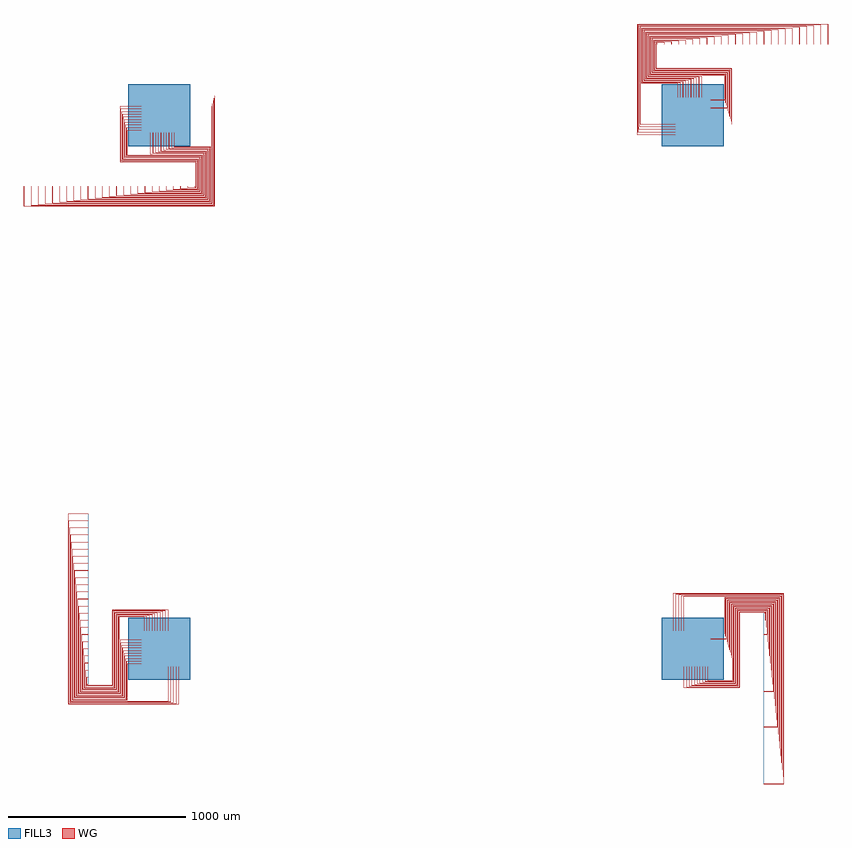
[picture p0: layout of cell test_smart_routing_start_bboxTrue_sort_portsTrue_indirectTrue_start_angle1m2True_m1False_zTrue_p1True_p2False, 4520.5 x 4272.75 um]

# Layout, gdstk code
import gdstk
lib = gdstk.Library(unit=1e-6, precision=1e-09)
def R(c, l, rs):  # rectangles x0, y0, x1, y1
    for r in rs: c.add(gdstk.rectangle(r[:2], r[2:], *l))
def P(c, l, *ps):  # polygons
    for p in ps: c.add(gdstk.Polygon(p, *l))
WG = (1, 0)
FILL3 = (10, 0)

test_smart_routing_start = lib.new_cell('test_smart_routing_start_bboxTrue_sort_portsTrue_indirectTrue_start_angle1m2True_m1False_zTrue_p1True_p2False')
P(test_smart_routing_start, WG, [(3400,-720.25),(3400,-720.05),(3507.8,-720.05),(3507.8,308.05),(2904.95,308.05),(2904.95,100),(2904.75,100),(2904.75,308.25),(3508,308.25),(3508,-720.25)],
  [(3400,-680.25),(3400,-680.05),(3503.3,-680.05),(3503.3,303.55),(2919.95,303.55),(2919.95,100),(2919.75,100),(2919.75,303.75),(3503.5,303.75),(3503.5,-680.25)],
  [(3400,-640.25),(3400,-640.05),(3498.8,-640.05),(3498.8,299.05),(2934.95,299.05),(2934.95,100),(2934.75,100),(2934.75,299.25),(3499,299.25),(3499,-640.25)],
  [(3400,-639.95),(3400,-639.75),(3498.5,-639.75),(3498.5,298.75),(2935.25,298.75),(2935.25,100),(2935.05,100),(2935.05,298.95),(3498.7,298.95),(3498.7,-639.95)],
  [(3400,-559.95),(3400,-559.75),(3489.5,-559.75),(3489.5,289.75),(3179.5,289.75),(3179.5,84.75),(3100,84.75),(3100,84.95),(3179.3,84.95),(3179.3,289.95),(3489.7,289.95),(3489.7,-559.95)],
  [(3400,-519.95),(3400,-519.75),(3485,-519.75),(3485,285.25),(3184,285.25),(3184,69.75),(3100,69.75),(3100,69.95),(3183.8,69.95),(3183.8,285.45),(3485.2,285.45),(3485.2,-519.95)],
  [(3400,-480.25),(3400,-480.05),(3480.8,-480.05),(3480.8,281.05),(3188.2,281.05),(3188.2,55.05),(3100,55.05),(3100,55.25),(3188,55.25),(3188,281.25),(3481,281.25),(3481,-480.25)],
  [(3400,-439.95),(3400,-439.75),(3476,-439.75),(3476,276.25),(3193,276.25),(3193,39.75),(3100,39.75),(3100,39.95),(3192.8,39.95),(3192.8,276.45),(3476.2,276.45),(3476.2,-439.95)],
  [(3400,-360.25),(3400,-360.05),(3467.3,-360.05),(3467.3,267.55),(3201.7,267.55),(3201.7,10.05),(3100,10.05),(3100,10.25),(3201.5,10.25),(3201.5,267.75),(3467.5,267.75),(3467.5,-360.25)],
  [(3400,-359.95),(3400,-359.75),(3467,-359.75),(3467,267.25),(3202,267.25),(3202,9.75),(3100,9.75),(3100,9.95),(3201.8,9.95),(3201.8,267.45),(3467.2,267.45),(3467.2,-359.95)],
  [(3400,-319.95),(3400,-319.75),(3462.5,-319.75),(3462.5,262.75),(3206.5,262.75),(3206.5,-5.25),(3100,-5.25),(3100,-5.05),(3206.3,-5.05),(3206.3,262.95),(3462.7,262.95),(3462.7,-319.95)],
  [(3400,-280.25),(3400,-280.05),(3458.3,-280.05),(3458.3,258.55),(3210.7,258.55),(3210.7,-19.95),(3100,-19.95),(3100,-19.75),(3210.5,-19.75),(3210.5,258.75),(3458.5,258.75),(3458.5,-280.25)],
  [(3400,-760.25),(3400,-760.05),(3512.3,-760.05),(3512.3,312.55),(2889.95,312.55),(2889.95,100),(2889.75,100),(2889.75,312.75),(3512.5,312.75),(3512.5,-760.25)],
  [(3400,-279.95),(3400,-279.75),(3458,-279.75),(3458,258.25),(3211,258.25),(3211,-20.25),(3100,-20.25),(3100,-20.05),(3210.8,-20.05),(3210.8,258.45),(3458.2,258.45),(3458.2,-279.95)],
  [(3400,-240.25),(3400,-240.05),(3453.8,-240.05),(3453.8,254.05),(3215.2,254.05),(3215.2,-34.95),(3100,-34.95),(3100,-34.75),(3215,-34.75),(3215,254.25),(3454,254.25),(3454,-240.25)],
  [(3400,-239.95),(3400,-239.75),(3453.5,-239.75),(3453.5,253.75),(3215.5,253.75),(3215.5,-35.25),(3100,-35.25),(3100,-35.05),(3215.3,-35.05),(3215.3,253.95),(3453.7,253.95),(3453.7,-239.95)],
  [(3400,-199.95),(3400,-199.75),(3449,-199.75),(3449,249.25),(3220,249.25),(3220,-50.25),(3100,-50.25),(3100,-50.05),(3219.8,-50.05),(3219.8,249.45),(3449.2,249.45),(3449.2,-199.95)],
  [(3085.05,-179.2),(3085.05,-100),(3085.25,-100),(3085.25,-179),(3224,-179),(3224,245.25),(3445,245.25),(3445,-160.25),(3400,-160.25),(3400,-160.05),(3444.8,-160.05),(3444.8,245.05),(3224.2,245.05),(3224.2,-179.2)],
  [(3400,-759.95),(3400,-759.75),(3512,-759.75),(3512,312.25),(2890.25,312.25),(2890.25,100),(2890.05,100),(2890.05,312.45),(3512.2,312.45),(3512.2,-759.95)],
  [(3069.75,-184),(3069.75,-100),(3069.95,-100),(3069.95,-183.8),(3228.8,-183.8),(3228.8,240.45),(3440.2,240.45),(3440.2,-119.95),(3400,-119.95),(3400,-119.75),(3440,-119.75),(3440,240.25),(3229,240.25),(3229,-184)],
  [(3055.05,-188.2),(3055.05,-100),(3055.25,-100),(3055.25,-188),(3233,-188),(3233,236.25),(3436,236.25),(3436,-80.25),(3400,-80.25),(3400,-80.05),(3435.8,-80.05),(3435.8,236.05),(3233.2,236.05),(3233.2,-188.2)],
  [(3054.75,-188.5),(3054.75,-100),(3054.95,-100),(3054.95,-188.3),(3233.3,-188.3),(3233.3,235.95),(3435.7,235.95),(3435.7,-79.95),(3400,-79.95),(3400,-79.75),(3435.5,-79.75),(3435.5,235.75),(3233.5,235.75),(3233.5,-188.5)],
  [(3040.05,-192.7),(3040.05,-100),(3040.25,-100),(3040.25,-192.5),(3237.5,-192.5),(3237.5,231.75),(3431.5,231.75),(3431.5,-40.25),(3400,-40.25),(3400,-40.05),(3431.3,-40.05),(3431.3,231.55),(3237.7,231.55),(3237.7,-192.7)],
  [(3039.75,-193),(3039.75,-100),(3039.95,-100),(3039.95,-192.8),(3237.8,-192.8),(3237.8,231.45),(3431.2,231.45),(3431.2,-39.95),(3400,-39.95),(3400,-39.75),(3431,-39.75),(3431,231.25),(3238,231.25),(3238,-193)],
  [(3009.75,-202),(3009.75,-100),(3009.95,-100),(3009.95,-201.8),(3246.8,-201.8),(3246.8,222.45),(3422.2,222.45),(3422.2,40.05),(3400,40.05),(3400,40.25),(3422,40.25),(3422,222.25),(3247,222.25),(3247,-202)],
  [(2994.75,-206.5),(2994.75,-100),(2994.95,-100),(2994.95,-206.3),(3251.3,-206.3),(3251.3,217.95),(3417.7,217.95),(3417.7,80.05),(3400,80.05),(3400,80.25),(3417.5,80.25),(3417.5,217.75),(3251.5,217.75),(3251.5,-206.5)],
  [(2980.05,-210.7),(2980.05,-100),(2980.25,-100),(2980.25,-210.5),(3255.5,-210.5),(3255.5,213.75),(3413.5,213.75),(3413.5,119.75),(3400,119.75),(3400,119.95),(3413.3,119.95),(3413.3,213.55),(3255.7,213.55),(3255.7,-210.7)],
  [(2965.05,-215.2),(2965.05,-100),(2965.25,-100),(2965.25,-215),(3260,-215),(3260,209.25),(3409,209.25),(3409,159.75),(3400,159.75),(3400,159.95),(3408.8,159.95),(3408.8,209.05),(3260.2,209.05),(3260.2,-215.2)],
  [(2964.75,-215.5),(2964.75,-100),(2964.95,-100),(2964.95,-215.3),(3260.3,-215.3),(3260.3,208.95),(3408.7,208.95),(3408.7,160.05),(3400,160.05),(3400,160.25),(3408.5,160.25),(3408.5,208.75),(3260.5,208.75),(3260.5,-215.5)],
  [(2949.75,-220),(2949.75,-100),(2949.95,-100),(2949.95,-219.8),(3264.8,-219.8),(3264.8,204.45),(3404.2,204.45),(3404.2,200.05),(3400,200.05),(3400,200.25),(3404,200.25),(3404,204.25),(3265,204.25),(3265,-220)],
  [(-503.5,-303.75),(-503.5,680.25),(-400,680.25),(-400,680.05),(-503.3,680.05),(-503.3,-303.55),(80.05,-303.55),(80.05,-100),(80.25,-100),(80.25,-303.75)],
  [(-499,-299.25),(-499,640.25),(-400,640.25),(-400,640.05),(-498.8,640.05),(-498.8,-299.05),(65.05,-299.05),(65.05,-100),(65.25,-100),(65.25,-299.25)],
  [(-507.7,-307.95),(-507.7,719.95),(-400,719.95),(-400,719.75),(-507.5,719.75),(-507.5,-307.75),(94.75,-307.75),(94.75,-100),(94.95,-100),(94.95,-307.95)],
  [(-494.2,-294.45),(-494.2,599.95),(-400,599.95),(-400,599.75),(-494,599.75),(-494,-294.25),(49.75,-294.25),(49.75,-100),(49.95,-100),(49.95,-294.45)],
  [(-490,-290.25),(-490,560.25),(-400,560.25),(-400,560.05),(-489.8,560.05),(-489.8,-290.05),(-179.2,-290.05),(-179.2,-85.05),(-100,-85.05),(-100,-85.25),(-179,-85.25),(-179,-290.25)],
  [(-489.7,-289.95),(-489.7,559.95),(-400,559.95),(-400,559.75),(-489.5,559.75),(-489.5,-289.75),(-179.5,-289.75),(-179.5,-84.75),(-100,-84.75),(-100,-84.95),(-179.3,-84.95),(-179.3,-289.95)],
  [(-485.5,-285.75),(-485.5,520.25),(-400,520.25),(-400,520.05),(-485.3,520.05),(-485.3,-285.55),(-183.7,-285.55),(-183.7,-70.05),(-100,-70.05),(-100,-70.25),(-183.5,-70.25),(-183.5,-285.75)],
  [(-503.2,-303.45),(-503.2,679.95),(-400,679.95),(-400,679.75),(-503,679.75),(-503,-303.25),(79.75,-303.25),(79.75,-100),(79.95,-100),(79.95,-303.45)],
  [(-481,-281.25),(-481,480.25),(-400,480.25),(-400,480.05),(-480.8,480.05),(-480.8,-281.05),(-188.2,-281.05),(-188.2,-55.05),(-100,-55.05),(-100,-55.25),(-188,-55.25),(-188,-281.25)],
  [(-476.5,-276.75),(-476.5,440.25),(-400,440.25),(-400,440.05),(-476.3,440.05),(-476.3,-276.55),(-192.7,-276.55),(-192.7,-40.05),(-100,-40.05),(-100,-40.25),(-192.5,-40.25),(-192.5,-276.75)],
  [(-476.2,-276.45),(-476.2,439.95),(-400,439.95),(-400,439.75),(-476,439.75),(-476,-276.25),(-193,-276.25),(-193,-39.75),(-100,-39.75),(-100,-39.95),(-192.8,-39.95),(-192.8,-276.45)],
  [(-472,-272.25),(-472,400.25),(-400,400.25),(-400,400.05),(-471.8,400.05),(-471.8,-272.05),(-197.2,-272.05),(-197.2,-25.05),(-100,-25.05),(-100,-25.25),(-197,-25.25),(-197,-272.25)],
  [(-467.5,-267.75),(-467.5,360.25),(-400,360.25),(-400,360.05),(-467.3,360.05),(-467.3,-267.55),(-201.7,-267.55),(-201.7,-10.05),(-100,-10.05),(-100,-10.25),(-201.5,-10.25),(-201.5,-267.75)],
  [(-467.2,-267.45),(-467.2,359.95),(-400,359.95),(-400,359.75),(-467,359.75),(-467,-267.25),(-202,-267.25),(-202,-9.75),(-100,-9.75),(-100,-9.95),(-201.8,-9.95),(-201.8,-267.45)],
  [(-463,-263.25),(-463,320.25),(-400,320.25),(-400,320.05),(-462.8,320.05),(-462.8,-263.05),(-206.2,-263.05),(-206.2,4.95),(-100,4.95),(-100,4.75),(-206,4.75),(-206,-263.25)],
  [(-480.25,2519),(-480.25,2600),(-480.05,2600),(-480.05,2519.2),(281.05,2519.2),(281.05,2811.8),(55.05,2811.8),(55.05,2900),(55.25,2900),(55.25,2812),(281.25,2812),(281.25,2519)],
  [(39.75,2577.5),(39.75,2600),(39.95,2600),(39.95,2577.7),(222.55,2577.7),(222.55,2753.3),(-201.7,2753.3),(-201.7,2989.95),(-100,2989.95),(-100,2989.75),(-201.5,2989.75),(-201.5,2753.5),(222.75,2753.5),(222.75,2577.5)],
  [(2700.75,2934.75),(2700.75,3499),(3640.25,3499),(3640.25,3400),(3640.05,3400),(3640.05,3498.8),(2700.95,3498.8),(2700.95,2934.95),(2900,2934.95),(2900,2934.75)],
  [(2944.75,3100),(2944.75,3188),(2718.75,3188),(2718.75,3481),(3480.25,3481),(3480.25,3400),(3480.05,3400),(3480.05,3480.8),(2718.95,3480.8),(2718.95,3188.2),(2944.95,3188.2),(2944.95,3100)],
  [(-80.25,2564),(-80.25,2600),(-80.05,2600),(-80.05,2564.2),(236.05,2564.2),(236.05,2766.8),(-188.2,2766.8),(-188.2,2944.95),(-100,2944.95),(-100,2944.75),(-188,2944.75),(-188,2767),(236.25,2767),(236.25,2564)],
  [(3400,-599.95),(3400,-599.75),(3494,-599.75),(3494,294.25),(2950.25,294.25),(2950.25,100),(2950.05,100),(2950.05,294.45),(3494.2,294.45),(3494.2,-599.95)],
  [(-239.95,2546.3),(-239.95,2600),(-239.75,2600),(-239.75,2546.5),(253.75,2546.5),(253.75,2784.5),(-35.25,2784.5),(-35.25,2900),(-35.05,2900),(-35.05,2784.7),(253.95,2784.7),(253.95,2546.3)],
  [(3084.75,-179.5),(3084.75,-100),(3084.95,-100),(3084.95,-179.3),(3224.3,-179.3),(3224.3,244.95),(3444.7,244.95),(3444.7,-159.95),(3400,-159.95),(3400,-159.75),(3444.5,-159.75),(3444.5,244.75),(3224.5,244.75),(3224.5,-179.5)],
  [(-400.25,2528),(-400.25,2600),(-400.05,2600),(-400.05,2528.2),(272.05,2528.2),(272.05,2802.8),(25.05,2802.8),(25.05,2900),(25.25,2900),(25.25,2803),(272.25,2803),(272.25,2528)],
  [(2705.25,2949.75),(2705.25,3494.5),(3600.25,3494.5),(3600.25,3400),(3600.05,3400),(3600.05,3494.3),(2705.45,3494.3),(2705.45,2949.95),(2900,2949.95),(2900,2949.75)],
  [(-600.25,2505.5),(-600.25,2600),(-600.05,2600),(-600.05,2505.7),(294.55,2505.7),(294.55,3050.05),(100,3050.05),(100,3050.25),(294.75,3050.25),(294.75,2505.5)],
  [(-440.2,-240.45),(-440.2,119.95),(-400,119.95),(-400,119.75),(-440,119.75),(-440,-240.25),(-229,-240.25),(-229,184),(-69.75,184),(-69.75,100),(-69.95,100),(-69.95,183.8),(-228.8,183.8),(-228.8,-240.45)],
  [(-471.7,-271.95),(-471.7,399.95),(-400,399.95),(-400,399.75),(-471.5,399.75),(-471.5,-271.75),(-197.5,-271.75),(-197.5,-24.75),(-100,-24.75),(-100,-24.95),(-197.3,-24.95),(-197.3,-271.95)],
  [(2687.55,2890.05),(2687.55,3512.2),(3759.95,3512.2),(3759.95,3400),(3759.75,3400),(3759.75,3512),(2687.75,3512),(2687.75,2890.25),(2900,2890.25),(2900,2890.05)],
  [(3020.05,3100),(3020.05,3210.8),(2741.55,3210.8),(2741.55,3458.2),(3279.95,3458.2),(3279.95,3400),(3279.75,3400),(3279.75,3458),(2741.75,3458),(2741.75,3211),(3020.25,3211),(3020.25,3100)],
  [(120.05,2586.8),(120.05,2600),(120.25,2600),(120.25,2587),(213.25,2587),(213.25,2744),(-211,2744),(-211,3020.25),(-100,3020.25),(-100,3020.05),(-210.8,3020.05),(-210.8,2744.2),(213.45,2744.2),(213.45,2586.8)],
  [(-408.7,-208.95),(-408.7,-160.05),(-400,-160.05),(-400,-160.25),(-408.5,-160.25),(-408.5,-208.75),(-260.5,-208.75),(-260.5,215.5),(35.25,215.5),(35.25,100),(35.05,100),(35.05,215.3),(-260.3,215.3),(-260.3,-208.95)],
  [(2701.05,2935.05),(2701.05,3498.7),(3639.95,3498.7),(3639.95,3400),(3639.75,3400),(3639.75,3498.5),(2701.25,3498.5),(2701.25,2935.25),(2900,2935.25),(2900,2935.05)],
  [(-319.95,2537.3),(-319.95,2600),(-319.75,2600),(-319.75,2537.5),(262.75,2537.5),(262.75,2793.5),(-5.25,2793.5),(-5.25,2900),(-5.05,2900),(-5.05,2793.7),(262.95,2793.7),(262.95,2537.3)],
  [(2960.05,3100),(2960.05,3192.8),(2723.55,3192.8),(2723.55,3476.2),(3439.95,3476.2),(3439.95,3400),(3439.75,3400),(3439.75,3476),(2723.75,3476),(2723.75,3193),(2960.25,3193),(2960.25,3100)],
  [(2974.75,3100),(2974.75,3197),(2727.75,3197),(2727.75,3472),(3400.25,3472),(3400.25,3400),(3400.05,3400),(3400.05,3471.8),(2727.95,3471.8),(2727.95,3197.2),(2974.95,3197.2),(2974.95,3100)],
  [(-200.25,2550.5),(-200.25,2600),(-200.05,2600),(-200.05,2550.7),(249.55,2550.7),(249.55,2780.3),(-49.95,2780.3),(-49.95,2900),(-49.75,2900),(-49.75,2780.5),(249.75,2780.5),(249.75,2550.5)],
  [(2975.05,3100),(2975.05,3197.3),(2728.05,3197.3),(2728.05,3471.7),(3399.95,3471.7),(3399.95,3400),(3399.75,3400),(3399.75,3471.5),(2728.25,3471.5),(2728.25,3197.5),(2975.25,3197.5),(2975.25,3100)],
  [(2696.25,2919.75),(2696.25,3503.5),(3680.25,3503.5),(3680.25,3400),(3680.05,3400),(3680.05,3503.3),(2696.45,3503.3),(2696.45,2919.95),(2900,2919.95),(2900,2919.75)],
  [(3004.75,3100),(3004.75,3206),(2736.75,3206),(2736.75,3463),(3320.25,3463),(3320.25,3400),(3320.05,3400),(3320.05,3462.8),(2736.95,3462.8),(2736.95,3206.2),(3004.95,3206.2),(3004.95,3100)],
  [(2989.75,3100),(2989.75,3201.5),(2732.25,3201.5),(2732.25,3467.5),(3360.25,3467.5),(3360.25,3400),(3360.05,3400),(3360.05,3467.3),(2732.45,3467.3),(2732.45,3201.7),(2989.95,3201.7),(2989.95,3100)],
  [(2691.75,2904.75),(2691.75,3508),(3720.25,3508),(3720.25,3400),(3720.05,3400),(3720.05,3507.8),(2691.95,3507.8),(2691.95,2904.95),(2900,2904.95),(2900,2904.75)],
  [(2687.25,2889.75),(2687.25,3512.5),(3760.25,3512.5),(3760.25,3400),(3760.05,3400),(3760.05,3512.3),(2687.45,3512.3),(2687.45,2889.95),(2900,2889.95),(2900,2889.75)],
  [(-240.25,2546),(-240.25,2600),(-240.05,2600),(-240.05,2546.2),(254.05,2546.2),(254.05,2784.8),(-34.95,2784.8),(-34.95,2900),(-34.75,2900),(-34.75,2785),(254.25,2785),(254.25,2546)],
  [(3400,-440.25),(3400,-440.05),(3476.3,-440.05),(3476.3,276.55),(3192.7,276.55),(3192.7,40.05),(3100,40.05),(3100,40.25),(3192.5,40.25),(3192.5,276.75),(3476.5,276.75),(3476.5,-440.25)],
  [(3100,3039.75),(3100,3039.95),(3192.8,3039.95),(3192.8,3237.8),(2768.55,3237.8),(2768.55,3431.2),(3039.95,3431.2),(3039.95,3400),(3039.75,3400),(3039.75,3431),(2768.75,3431),(2768.75,3238),(3193,3238),(3193,3039.75)],
  [(3024.75,-197.5),(3024.75,-100),(3024.95,-100),(3024.95,-197.3),(3242.3,-197.3),(3242.3,226.95),(3426.7,226.95),(3426.7,0.05),(3400,0.05),(3400,0.25),(3426.5,0.25),(3426.5,226.75),(3242.5,226.75),(3242.5,-197.5)],
  [(-427,-227.25),(-427,0.25),(-400,0.25),(-400,0.05),(-426.8,0.05),(-426.8,-227.05),(-242.2,-227.05),(-242.2,197.2),(-25.05,197.2),(-25.05,100),(-25.25,100),(-25.25,197),(-242,197),(-242,-227.25)],
  [(3100,3025.05),(3100,3025.25),(3197,3025.25),(3197,3242),(2772.75,3242),(2772.75,3427),(3000.25,3427),(3000.25,3400),(3000.05,3400),(3000.05,3426.8),(2772.95,3426.8),(2772.95,3242.2),(3197.2,3242.2),(3197.2,3025.05)],
  [(3050.05,3100),(3050.05,3219.8),(2750.55,3219.8),(2750.55,3449.2),(3199.95,3449.2),(3199.95,3400),(3199.75,3400),(3199.75,3449),(2750.75,3449),(2750.75,3220),(3050.25,3220),(3050.25,3100)],
  [(3100,3055.05),(3100,3055.25),(3188,3055.25),(3188,3233),(2763.75,3233),(2763.75,3436),(3080.25,3436),(3080.25,3400),(3080.05,3400),(3080.05,3435.8),(2763.95,3435.8),(2763.95,3233.2),(3188.2,3233.2),(3188.2,3055.05)],
  [(3400,-679.95),(3400,-679.75),(3503,-679.75),(3503,303.25),(2920.25,303.25),(2920.25,100),(2920.05,100),(2920.05,303.45),(3503.2,303.45),(3503.2,-679.95)],
  [(-359.95,2532.8),(-359.95,2600),(-359.75,2600),(-359.75,2533),(267.25,2533),(267.25,2798),(9.75,2798),(9.75,2900),(9.95,2900),(9.95,2798.2),(267.45,2798.2),(267.45,2532.8)],
  [(-519.95,2514.8),(-519.95,2600),(-519.75,2600),(-519.75,2515),(285.25,2515),(285.25,2816),(69.75,2816),(69.75,2900),(69.95,2900),(69.95,2816.2),(285.45,2816.2),(285.45,2514.8)],
  [(119.75,2586.5),(119.75,2600),(119.95,2600),(119.95,2586.7),(213.55,2586.7),(213.55,2744.3),(-210.7,2744.3),(-210.7,3019.95),(-100,3019.95),(-100,3019.75),(-210.5,3019.75),(-210.5,2744.5),(213.75,2744.5),(213.75,2586.5)],
  [(3019.75,3100),(3019.75,3210.5),(2741.25,3210.5),(2741.25,3458.5),(3280.25,3458.5),(3280.25,3400),(3280.05,3400),(3280.05,3458.3),(2741.45,3458.3),(2741.45,3210.7),(3019.95,3210.7),(3019.95,3100)],
  [(3100,3069.75),(3100,3069.95),(3183.8,3069.95),(3183.8,3228.8),(2759.55,3228.8),(2759.55,3440.2),(3119.95,3440.2),(3119.95,3400),(3119.75,3400),(3119.75,3440),(2759.75,3440),(2759.75,3229),(3184,3229),(3184,3069.75)],
  [(-512.5,-312.75),(-512.5,760.25),(-400,760.25),(-400,760.05),(-512.3,760.05),(-512.3,-312.55),(110.05,-312.55),(110.05,-100),(110.25,-100),(110.25,-312.75)],
  [(-640.25,2501),(-640.25,2600),(-640.05,2600),(-640.05,2501.2),(299.05,2501.2),(299.05,3065.05),(100,3065.05),(100,3065.25),(299.25,3065.25),(299.25,2501)],
  [(3100,3084.75),(3100,3084.95),(3179.3,3084.95),(3179.3,3224.3),(2755.05,3224.3),(2755.05,3444.7),(3159.95,3444.7),(3159.95,3400),(3159.75,3400),(3159.75,3444.5),(2755.25,3444.5),(2755.25,3224.5),(3179.5,3224.5),(3179.5,3084.75)],
  [(-413.2,-213.45),(-413.2,-120.05),(-400,-120.05),(-400,-120.25),(-413,-120.25),(-413,-213.25),(-256,-213.25),(-256,211),(20.25,211),(20.25,100),(20.05,100),(20.05,210.8),(-255.8,210.8),(-255.8,-213.45)],
  [(80.05,2582.3),(80.05,2600),(80.25,2600),(80.25,2582.5),(217.75,2582.5),(217.75,2748.5),(-206.5,2748.5),(-206.5,3005.25),(-100,3005.25),(-100,3005.05),(-206.3,3005.05),(-206.3,2748.7),(217.95,2748.7),(217.95,2582.3)],
  [(3070.05,-183.7),(3070.05,-100),(3070.25,-100),(3070.25,-183.5),(3228.5,-183.5),(3228.5,240.75),(3440.5,240.75),(3440.5,-120.25),(3400,-120.25),(3400,-120.05),(3440.3,-120.05),(3440.3,240.55),(3228.7,240.55),(3228.7,-183.7)],
  [(79.75,2582),(79.75,2600),(79.95,2600),(79.95,2582.2),(218.05,2582.2),(218.05,2748.8),(-206.2,2748.8),(-206.2,3004.95),(-100,3004.95),(-100,3004.75),(-206,3004.75),(-206,2749),(218.25,2749),(218.25,2582)],
  [(2929.75,3100),(2929.75,3183.5),(2714.25,3183.5),(2714.25,3485.5),(3520.25,3485.5),(3520.25,3400),(3520.05,3400),(3520.05,3485.3),(2714.45,3485.3),(2714.45,3183.7),(2929.95,3183.7),(2929.95,3100)],
  [(-199.95,2550.8),(-199.95,2600),(-199.75,2600),(-199.75,2551),(249.25,2551),(249.25,2780),(-50.25,2780),(-50.25,2900),(-50.05,2900),(-50.05,2780.2),(249.45,2780.2),(249.45,2550.8)],
  [(-422.2,-222.45),(-422.2,-40.05),(-400,-40.05),(-400,-40.25),(-422,-40.25),(-422,-222.25),(-247,-222.25),(-247,202),(-9.75,202),(-9.75,100),(-9.95,100),(-9.95,201.8),(-246.8,201.8),(-246.8,-222.45)],
  [(3100,2980.05),(3100,2980.25),(3210.5,2980.25),(3210.5,3255.5),(2786.25,3255.5),(2786.25,3413.5),(2880.25,3413.5),(2880.25,3400),(2880.05,3400),(2880.05,3413.3),(2786.45,3413.3),(2786.45,3255.7),(3210.7,3255.7),(3210.7,2980.05)],
  [(3005.05,3100),(3005.05,3206.3),(2737.05,3206.3),(2737.05,3462.7),(3319.95,3462.7),(3319.95,3400),(3319.75,3400),(3319.75,3462.5),(2737.25,3462.5),(2737.25,3206.5),(3005.25,3206.5),(3005.25,3100)],
  [(-512.2,-312.45),(-512.2,759.95),(-400,759.95),(-400,759.75),(-512,759.75),(-512,-312.25),(109.75,-312.25),(109.75,-100),(109.95,-100),(109.95,-312.45)],
  [(3100,3085.05),(3100,3085.25),(3179,3085.25),(3179,3224),(2754.75,3224),(2754.75,3445),(3160.25,3445),(3160.25,3400),(3160.05,3400),(3160.05,3444.8),(2754.95,3444.8),(2754.95,3224.2),(3179.2,3224.2),(3179.2,3085.05)],
  [(-440.5,-240.75),(-440.5,120.25),(-400,120.25),(-400,120.05),(-440.3,120.05),(-440.3,-240.55),(-228.7,-240.55),(-228.7,183.7),(-70.05,183.7),(-70.05,100),(-70.25,100),(-70.25,183.5),(-228.5,183.5),(-228.5,-240.75)],
  [(2696.55,2920.05),(2696.55,3503.2),(3679.95,3503.2),(3679.95,3400),(3679.75,3400),(3679.75,3503),(2696.75,3503),(2696.75,2920.25),(2900,2920.25),(2900,2920.05)],
  [(2950.05,-219.7),(2950.05,-100),(2950.25,-100),(2950.25,-219.5),(3264.5,-219.5),(3264.5,204.75),(3404.5,204.75),(3404.5,199.75),(3400,199.75),(3400,199.95),(3404.3,199.95),(3404.3,204.55),(3264.7,204.55),(3264.7,-219.7)],
  [(3100,2979.75),(3100,2979.95),(3210.8,2979.95),(3210.8,3255.8),(2786.55,3255.8),(2786.55,3413.2),(2879.95,3413.2),(2879.95,3400),(2879.75,3400),(2879.75,3413),(2786.75,3413),(2786.75,3256),(3211,3256),(3211,2979.75)],
  [(3400,-200.25),(3400,-200.05),(3449.3,-200.05),(3449.3,249.55),(3219.7,249.55),(3219.7,-49.95),(3100,-49.95),(3100,-49.75),(3219.5,-49.75),(3219.5,249.75),(3449.5,249.75),(3449.5,-200.25)],
  [(3049.75,3100),(3049.75,3219.5),(2750.25,3219.5),(2750.25,3449.5),(3200.25,3449.5),(3200.25,3400),(3200.05,3400),(3200.05,3449.3),(2750.45,3449.3),(2750.45,3219.7),(3049.95,3219.7),(3049.95,3100)],
  [(3100,2964.75),(3100,2964.95),(3215.3,2964.95),(3215.3,3260.3),(2791.05,3260.3),(2791.05,3408.7),(2839.95,3408.7),(2839.95,3400),(2839.75,3400),(2839.75,3408.5),(2791.25,3408.5),(2791.25,3260.5),(3215.5,3260.5),(3215.5,2964.75)],
  [(3100,3040.05),(3100,3040.25),(3192.5,3040.25),(3192.5,3237.5),(2768.25,3237.5),(2768.25,3431.5),(3040.25,3431.5),(3040.25,3400),(3040.05,3400),(3040.05,3431.3),(2768.45,3431.3),(2768.45,3237.7),(3192.7,3237.7),(3192.7,3040.05)],
  [(2915.05,3100),(2915.05,3179.3),(2710.05,3179.3),(2710.05,3489.7),(3559.95,3489.7),(3559.95,3400),(3559.75,3400),(3559.75,3489.5),(2710.25,3489.5),(2710.25,3179.5),(2915.25,3179.5),(2915.25,3100)],
  [(-435.7,-235.95),(-435.7,79.95),(-400,79.95),(-400,79.75),(-435.5,79.75),(-435.5,-235.75),(-233.5,-235.75),(-233.5,188.5),(-54.75,188.5),(-54.75,100),(-54.95,100),(-54.95,188.3),(-233.3,188.3),(-233.3,-235.95)],
  [(3025.05,-197.2),(3025.05,-100),(3025.25,-100),(3025.25,-197),(3242,-197),(3242,227.25),(3427,227.25),(3427,-0.25),(3400,-0.25),(3400,-0.05),(3426.8,-0.05),(3426.8,227.05),(3242.2,227.05),(3242.2,-197.2)],
  [(3100,2950.05),(3100,2950.25),(3219.5,2950.25),(3219.5,3264.5),(2795.25,3264.5),(2795.25,3404.5),(2800.25,3404.5),(2800.25,3400),(2800.05,3400),(2800.05,3404.3),(2795.45,3404.3),(2795.45,3264.7),(3219.7,3264.7),(3219.7,2950.05)],
  [(3100,2949.75),(3100,2949.95),(3219.8,2949.95),(3219.8,3264.8),(2795.55,3264.8),(2795.55,3404.2),(2799.95,3404.2),(2799.95,3400),(2799.75,3400),(2799.75,3404),(2795.75,3404),(2795.75,3265),(3220,3265),(3220,2949.75)],
  [(-409,-209.25),(-409,-159.75),(-400,-159.75),(-400,-159.95),(-408.8,-159.95),(-408.8,-209.05),(-260.2,-209.05),(-260.2,215.2),(34.95,215.2),(34.95,100),(34.75,100),(34.75,215),(-260,215),(-260,-209.25)],
  [(3400,-719.95),(3400,-719.75),(3507.5,-719.75),(3507.5,307.75),(2905.25,307.75),(2905.25,100),(2905.05,100),(2905.05,307.95),(3507.7,307.95),(3507.7,-719.95)],
  [(-39.95,2568.8),(-39.95,2600),(-39.75,2600),(-39.75,2569),(231.25,2569),(231.25,2762),(-193,2762),(-193,2960.25),(-100,2960.25),(-100,2960.05),(-192.8,2960.05),(-192.8,2762.2),(231.45,2762.2),(231.45,2568.8)],
  [(3034.75,3100),(3034.75,3215),(2745.75,3215),(2745.75,3454),(3240.25,3454),(3240.25,3400),(3240.05,3400),(3240.05,3453.8),(2745.95,3453.8),(2745.95,3215.2),(3034.95,3215.2),(3034.95,3100)],
  [(2914.75,3100),(2914.75,3179),(2709.75,3179),(2709.75,3490),(3560.25,3490),(3560.25,3400),(3560.05,3400),(3560.05,3489.8),(2709.95,3489.8),(2709.95,3179.2),(2914.95,3179.2),(2914.95,3100)],
  [(2705.55,2950.05),(2705.55,3494.2),(3599.95,3494.2),(3599.95,3400),(3599.75,3400),(3599.75,3494),(2705.75,3494),(2705.75,2950.25),(2900,2950.25),(2900,2950.05)],
  [(-485.2,-285.45),(-485.2,519.95),(-400,519.95),(-400,519.75),(-485,519.75),(-485,-285.25),(-184,-285.25),(-184,-69.75),(-100,-69.75),(-100,-69.95),(-183.8,-69.95),(-183.8,-285.45)],
  [(3100,3054.75),(3100,3054.95),(3188.3,3054.95),(3188.3,3233.3),(2764.05,3233.3),(2764.05,3435.7),(3079.95,3435.7),(3079.95,3400),(3079.75,3400),(3079.75,3435.5),(2764.25,3435.5),(2764.25,3233.5),(3188.5,3233.5),(3188.5,3054.75)],
  [(3400,-560.25),(3400,-560.05),(3489.8,-560.05),(3489.8,290.05),(3179.2,290.05),(3179.2,85.05),(3100,85.05),(3100,85.25),(3179,85.25),(3179,290.25),(3490,290.25),(3490,-560.25)],
  [(3100,3070.05),(3100,3070.25),(3183.5,3070.25),(3183.5,3228.5),(2759.25,3228.5),(2759.25,3440.5),(3120.25,3440.5),(3120.25,3400),(3120.05,3400),(3120.05,3440.3),(2759.45,3440.3),(2759.45,3228.7),(3183.7,3228.7),(3183.7,3070.05)],
  [(3100,3009.75),(3100,3009.95),(3201.8,3009.95),(3201.8,3246.8),(2777.55,3246.8),(2777.55,3422.2),(2959.95,3422.2),(2959.95,3400),(2959.75,3400),(2959.75,3422),(2777.75,3422),(2777.75,3247),(3202,3247),(3202,3009.75)],
  [(3100,3024.75),(3100,3024.95),(3197.3,3024.95),(3197.3,3242.3),(2773.05,3242.3),(2773.05,3426.7),(2999.95,3426.7),(2999.95,3400),(2999.75,3400),(2999.75,3426.5),(2773.25,3426.5),(2773.25,3242.5),(3197.5,3242.5),(3197.5,3024.75)],
  [(-422.5,-222.75),(-422.5,-39.75),(-400,-39.75),(-400,-39.95),(-422.3,-39.95),(-422.3,-222.55),(-246.7,-222.55),(-246.7,201.7),(-10.05,201.7),(-10.05,100),(-10.25,100),(-10.25,201.5),(-246.5,201.5),(-246.5,-222.75)],
  [(-0.25,2573),(-0.25,2600),(-0.05,2600),(-0.05,2573.2),(227.05,2573.2),(227.05,2757.8),(-197.2,2757.8),(-197.2,2974.95),(-100,2974.95),(-100,2974.75),(-197,2974.75),(-197,2758),(227.25,2758),(227.25,2573)],
  [(200.05,2595.8),(200.05,2600),(200.25,2600),(200.25,2596),(204.25,2596),(204.25,2735),(-220,2735),(-220,3050.25),(-100,3050.25),(-100,3050.05),(-219.8,3050.05),(-219.8,2735.2),(204.45,2735.2),(204.45,2595.8)],
  [(199.75,2595.5),(199.75,2600),(199.95,2600),(199.95,2595.7),(204.55,2595.7),(204.55,2735.3),(-219.7,2735.3),(-219.7,3049.95),(-100,3049.95),(-100,3049.75),(-219.5,3049.75),(-219.5,2735.5),(204.75,2735.5),(204.75,2595.5)],
  [(3400,-600.25),(3400,-600.05),(3494.3,-600.05),(3494.3,294.55),(2949.95,294.55),(2949.95,100),(2949.75,100),(2949.75,294.75),(3494.5,294.75),(3494.5,-600.25)],
  [(-480.7,-280.95),(-480.7,479.95),(-400,479.95),(-400,479.75),(-480.5,479.75),(-480.5,-280.75),(-188.5,-280.75),(-188.5,-54.75),(-100,-54.75),(-100,-54.95),(-188.3,-54.95),(-188.3,-280.95)],
  [(3035.05,3100),(3035.05,3215.3),(2746.05,3215.3),(2746.05,3453.7),(3239.95,3453.7),(3239.95,3400),(3239.75,3400),(3239.75,3453.5),(2746.25,3453.5),(2746.25,3215.5),(3035.25,3215.5),(3035.25,3100)],
  [(-479.95,2519.3),(-479.95,2600),(-479.75,2600),(-479.75,2519.5),(280.75,2519.5),(280.75,2811.5),(54.75,2811.5),(54.75,2900),(54.95,2900),(54.95,2811.7),(280.95,2811.7),(280.95,2519.3)],
  [(160.05,2591.3),(160.05,2600),(160.25,2600),(160.25,2591.5),(208.75,2591.5),(208.75,2739.5),(-215.5,2739.5),(-215.5,3035.25),(-100,3035.25),(-100,3035.05),(-215.3,3035.05),(-215.3,2739.7),(208.95,2739.7),(208.95,2591.3)],
  [(40.05,2577.8),(40.05,2600),(40.25,2600),(40.25,2578),(222.25,2578),(222.25,2753),(-202,2753),(-202,2990.25),(-100,2990.25),(-100,2990.05),(-201.8,2990.05),(-201.8,2753.2),(222.45,2753.2),(222.45,2577.8)],
  [(0.05,2573.3),(0.05,2600),(0.25,2600),(0.25,2573.5),(226.75,2573.5),(226.75,2757.5),(-197.5,2757.5),(-197.5,2975.25),(-100,2975.25),(-100,2975.05),(-197.3,2975.05),(-197.3,2757.7),(226.95,2757.7),(226.95,2573.3)],
  [(-40.25,2568.5),(-40.25,2600),(-40.05,2600),(-40.05,2568.7),(231.55,2568.7),(231.55,2762.3),(-192.7,2762.3),(-192.7,2959.95),(-100,2959.95),(-100,2959.75),(-192.5,2959.75),(-192.5,2762.5),(231.75,2762.5),(231.75,2568.5)],
  [(3100,3010.05),(3100,3010.25),(3201.5,3010.25),(3201.5,3246.5),(2777.25,3246.5),(2777.25,3422.5),(2960.25,3422.5),(2960.25,3400),(2960.05,3400),(2960.05,3422.3),(2777.45,3422.3),(2777.45,3246.7),(3201.7,3246.7),(3201.7,3010.05)],
  [(-79.95,2564.3),(-79.95,2600),(-79.75,2600),(-79.75,2564.5),(235.75,2564.5),(235.75,2766.5),(-188.5,2766.5),(-188.5,2945.25),(-100,2945.25),(-100,2945.05),(-188.3,2945.05),(-188.3,2766.7),(235.95,2766.7),(235.95,2564.3)],
  [(-120.25,2559.5),(-120.25,2600),(-120.05,2600),(-120.05,2559.7),(240.55,2559.7),(240.55,2771.3),(-183.7,2771.3),(-183.7,2929.95),(-100,2929.95),(-100,2929.75),(-183.5,2929.75),(-183.5,2771.5),(240.75,2771.5),(240.75,2559.5)],
  [(3100,2994.75),(3100,2994.95),(3206.3,2994.95),(3206.3,3251.3),(2782.05,3251.3),(2782.05,3417.7),(2919.95,3417.7),(2919.95,3400),(2919.75,3400),(2919.75,3417.5),(2782.25,3417.5),(2782.25,3251.5),(3206.5,3251.5),(3206.5,2994.75)],
  [(-413.5,-213.75),(-413.5,-119.75),(-400,-119.75),(-400,-119.95),(-413.3,-119.95),(-413.3,-213.55),(-255.7,-213.55),(-255.7,210.7),(19.95,210.7),(19.95,100),(19.75,100),(19.75,210.5),(-255.5,210.5),(-255.5,-213.75)],
  [(2990.05,3100),(2990.05,3201.8),(2732.55,3201.8),(2732.55,3467.2),(3359.95,3467.2),(3359.95,3400),(3359.75,3400),(3359.75,3467),(2732.75,3467),(2732.75,3202),(2990.25,3202),(2990.25,3100)],
  [(-159.95,2555.3),(-159.95,2600),(-159.75,2600),(-159.75,2555.5),(244.75,2555.5),(244.75,2775.5),(-179.5,2775.5),(-179.5,2915.25),(-100,2915.25),(-100,2915.05),(-179.3,2915.05),(-179.3,2775.7),(244.95,2775.7),(244.95,2555.3)],
  [(-431.5,-231.75),(-431.5,40.25),(-400,40.25),(-400,40.05),(-431.3,40.05),(-431.3,-231.55),(-237.7,-231.55),(-237.7,192.7),(-40.05,192.7),(-40.05,100),(-40.25,100),(-40.25,192.5),(-237.5,192.5),(-237.5,-231.75)],
  [(3400,-520.25),(3400,-520.05),(3485.3,-520.05),(3485.3,285.55),(3183.7,285.55),(3183.7,70.05),(3100,70.05),(3100,70.25),(3183.5,70.25),(3183.5,285.75),(3485.5,285.75),(3485.5,-520.25)],
  [(2945.05,3100),(2945.05,3188.3),(2719.05,3188.3),(2719.05,3480.7),(3479.95,3480.7),(3479.95,3400),(3479.75,3400),(3479.75,3480.5),(2719.25,3480.5),(2719.25,3188.5),(2945.25,3188.5),(2945.25,3100)],
  [(-279.95,2541.8),(-279.95,2600),(-279.75,2600),(-279.75,2542),(258.25,2542),(258.25,2789),(-20.25,2789),(-20.25,2900),(-20.05,2900),(-20.05,2789.2),(258.45,2789.2),(258.45,2541.8)],
  [(2979.75,-211),(2979.75,-100),(2979.95,-100),(2979.95,-210.8),(3255.8,-210.8),(3255.8,213.45),(3413.2,213.45),(3413.2,120.05),(3400,120.05),(3400,120.25),(3413,120.25),(3413,213.25),(3256,213.25),(3256,-211)],
  [(-280.25,2541.5),(-280.25,2600),(-280.05,2600),(-280.05,2541.7),(258.55,2541.7),(258.55,2789.3),(-19.95,2789.3),(-19.95,2900),(-19.75,2900),(-19.75,2789.5),(258.75,2789.5),(258.75,2541.5)],
  [(-320.25,2537),(-320.25,2600),(-320.05,2600),(-320.05,2537.2),(263.05,2537.2),(263.05,2793.8),(-4.95,2793.8),(-4.95,2900),(-4.75,2900),(-4.75,2794),(263.25,2794),(263.25,2537)],
  [(-599.95,2505.8),(-599.95,2600),(-599.75,2600),(-599.75,2506),(294.25,2506),(294.25,3049.75),(100,3049.75),(100,3049.95),(294.45,3049.95),(294.45,2505.8)],
  [(-360.25,2532.5),(-360.25,2600),(-360.05,2600),(-360.05,2532.7),(267.55,2532.7),(267.55,2798.3),(10.05,2798.3),(10.05,2900),(10.25,2900),(10.25,2798.5),(267.75,2798.5),(267.75,2532.5)],
  [(-399.95,2528.3),(-399.95,2600),(-399.75,2600),(-399.75,2528.5),(271.75,2528.5),(271.75,2802.5),(24.75,2802.5),(24.75,2900),(24.95,2900),(24.95,2802.7),(271.95,2802.7),(271.95,2528.3)],
  [(-559.95,2510.3),(-559.95,2600),(-559.75,2600),(-559.75,2510.5),(289.75,2510.5),(289.75,2820.5),(84.75,2820.5),(84.75,2900),(84.95,2900),(84.95,2820.7),(289.95,2820.7),(289.95,2510.3)],
  [(-445,-245.25),(-445,160.25),(-400,160.25),(-400,160.05),(-444.8,160.05),(-444.8,-245.05),(-224.2,-245.05),(-224.2,179.2),(-85.05,179.2),(-85.05,100),(-85.25,100),(-85.25,179),(-224,179),(-224,-245.25)],
  [(-560.25,2510),(-560.25,2600),(-560.05,2600),(-560.05,2510.2),(290.05,2510.2),(290.05,2820.8),(85.05,2820.8),(85.05,2900),(85.25,2900),(85.25,2821),(290.25,2821),(290.25,2510)],
  [(-498.7,-298.95),(-498.7,639.95),(-400,639.95),(-400,639.75),(-498.5,639.75),(-498.5,-298.75),(64.75,-298.75),(64.75,-100),(64.95,-100),(64.95,-298.95)],
  [(-639.95,2501.3),(-639.95,2600),(-639.75,2600),(-639.75,2501.5),(298.75,2501.5),(298.75,3064.75),(100,3064.75),(100,3064.95),(298.95,3064.95),(298.95,2501.3)],
  [(3400,-320.25),(3400,-320.05),(3462.8,-320.05),(3462.8,263.05),(3206.2,263.05),(3206.2,-4.95),(3100,-4.95),(3100,-4.75),(3206,-4.75),(3206,263.25),(3463,263.25),(3463,-320.25)],
  [(-520.25,2514.5),(-520.25,2600),(-520.05,2600),(-520.05,2514.7),(285.55,2514.7),(285.55,2816.3),(70.05,2816.3),(70.05,2900),(70.25,2900),(70.25,2816.5),(285.75,2816.5),(285.75,2514.5)],
  [(-679.95,2496.8),(-679.95,2600),(-679.75,2600),(-679.75,2497),(303.25,2497),(303.25,3079.75),(100,3079.75),(100,3079.95),(303.45,3079.95),(303.45,2496.8)],
  [(2930.05,3100),(2930.05,3183.8),(2714.55,3183.8),(2714.55,3485.2),(3519.95,3485.2),(3519.95,3400),(3519.75,3400),(3519.75,3485),(2714.75,3485),(2714.75,3184),(2930.25,3184),(2930.25,3100)],
  [(2959.75,3100),(2959.75,3192.5),(2723.25,3192.5),(2723.25,3476.5),(3440.25,3476.5),(3440.25,3400),(3440.05,3400),(3440.05,3476.3),(2723.45,3476.3),(2723.45,3192.7),(2959.95,3192.7),(2959.95,3100)],
  [(-680.25,2496.5),(-680.25,2600),(-680.05,2600),(-680.05,2496.7),(303.55,2496.7),(303.55,3080.05),(100,3080.05),(100,3080.25),(303.75,3080.25),(303.75,2496.5)],
  [(3400,-399.95),(3400,-399.75),(3471.5,-399.75),(3471.5,271.75),(3197.5,271.75),(3197.5,24.75),(3100,24.75),(3100,24.95),(3197.3,24.95),(3197.3,271.95),(3471.7,271.95),(3471.7,-399.95)],
  [(-494.5,-294.75),(-494.5,600.25),(-400,600.25),(-400,600.05),(-494.3,600.05),(-494.3,-294.55),(50.05,-294.55),(50.05,-100),(50.25,-100),(50.25,-294.75)],
  [(-160.25,2555),(-160.25,2600),(-160.05,2600),(-160.05,2555.2),(245.05,2555.2),(245.05,2775.8),(-179.2,2775.8),(-179.2,2914.95),(-100,2914.95),(-100,2914.75),(-179,2914.75),(-179,2776),(245.25,2776),(245.25,2555)],
  [(-719.95,2492.3),(-719.95,2600),(-719.75,2600),(-719.75,2492.5),(307.75,2492.5),(307.75,3094.75),(100,3094.75),(100,3094.95),(307.95,3094.95),(307.95,2492.3)],
  [(-720.25,2492),(-720.25,2600),(-720.05,2600),(-720.05,2492.2),(308.05,2492.2),(308.05,3095.05),(100,3095.05),(100,3095.25),(308.25,3095.25),(308.25,2492)],
  [(-760.25,2487.5),(-760.25,2600),(-760.05,2600),(-760.05,2487.7),(312.55,2487.7),(312.55,3110.05),(100,3110.05),(100,3110.25),(312.75,3110.25),(312.75,2487.5)],
  [(-404.5,-204.75),(-404.5,-199.75),(-400,-199.75),(-400,-199.95),(-404.3,-199.95),(-404.3,-204.55),(-264.7,-204.55),(-264.7,219.7),(49.95,219.7),(49.95,100),(49.75,100),(49.75,219.5),(-264.5,219.5),(-264.5,-204.75)],
  [(-404.2,-204.45),(-404.2,-200.05),(-400,-200.05),(-400,-200.25),(-404,-200.25),(-404,-204.25),(-265,-204.25),(-265,220),(50.25,220),(50.25,100),(50.05,100),(50.05,219.8),(-264.8,219.8),(-264.8,-204.45)],
  [(-759.95,2487.8),(-759.95,2600),(-759.75,2600),(-759.75,2488),(312.25,2488),(312.25,3109.75),(100,3109.75),(100,3109.95),(312.45,3109.95),(312.45,2487.8)],
  [(-119.95,2559.8),(-119.95,2600),(-119.75,2600),(-119.75,2560),(240.25,2560),(240.25,2771),(-184,2771),(-184,2930.25),(-100,2930.25),(-100,2930.05),(-183.8,2930.05),(-183.8,2771.2),(240.45,2771.2),(240.45,2559.8)],
  [(-418,-218.25),(-418,-79.75),(-400,-79.75),(-400,-79.95),(-417.8,-79.95),(-417.8,-218.05),(-251.2,-218.05),(-251.2,206.2),(4.95,206.2),(4.95,100),(4.75,100),(4.75,206),(-251,206),(-251,-218.25)],
  [(2692.05,2905.05),(2692.05,3507.7),(3719.95,3507.7),(3719.95,3400),(3719.75,3400),(3719.75,3507.5),(2692.25,3507.5),(2692.25,2905.25),(2900,2905.25),(2900,2905.05)],
  [(-417.7,-217.95),(-417.7,-80.05),(-400,-80.05),(-400,-80.25),(-417.5,-80.25),(-417.5,-217.75),(-251.5,-217.75),(-251.5,206.5),(5.25,206.5),(5.25,100),(5.05,100),(5.05,206.3),(-251.3,206.3),(-251.3,-217.95)],
  [(-426.7,-226.95),(-426.7,-0.05),(-400,-0.05),(-400,-0.25),(-426.5,-0.25),(-426.5,-226.75),(-242.5,-226.75),(-242.5,197.5),(-24.75,197.5),(-24.75,100),(-24.95,100),(-24.95,197.3),(-242.3,197.3),(-242.3,-226.95)],
  [(-431.2,-231.45),(-431.2,39.95),(-400,39.95),(-400,39.75),(-431,39.75),(-431,-231.25),(-238,-231.25),(-238,193),(-39.75,193),(-39.75,100),(-39.95,100),(-39.95,192.8),(-237.8,192.8),(-237.8,-231.45)],
  [(3400,-400.25),(3400,-400.05),(3471.8,-400.05),(3471.8,272.05),(3197.2,272.05),(3197.2,25.05),(3100,25.05),(3100,25.25),(3197,25.25),(3197,272.25),(3472,272.25),(3472,-400.25)],
  [(2995.05,-206.2),(2995.05,-100),(2995.25,-100),(2995.25,-206),(3251,-206),(3251,218.25),(3418,218.25),(3418,79.75),(3400,79.75),(3400,79.95),(3417.8,79.95),(3417.8,218.05),(3251.2,218.05),(3251.2,-206.2)],
  [(-436,-236.25),(-436,80.25),(-400,80.25),(-400,80.05),(-435.8,80.05),(-435.8,-236.05),(-233.2,-236.05),(-233.2,188.2),(-55.05,188.2),(-55.05,100),(-55.25,100),(-55.25,188),(-233,188),(-233,-236.25)],
  [(-508,-308.25),(-508,720.25),(-400,720.25),(-400,720.05),(-507.8,720.05),(-507.8,-308.05),(95.05,-308.05),(95.05,-100),(95.25,-100),(95.25,-308.25)],
  [(159.75,2591),(159.75,2600),(159.95,2600),(159.95,2591.2),(209.05,2591.2),(209.05,2739.8),(-215.2,2739.8),(-215.2,3034.95),(-100,3034.95),(-100,3034.75),(-215,3034.75),(-215,2740),(209.25,2740),(209.25,2591)],
  [(-440.25,2523.5),(-440.25,2600),(-440.05,2600),(-440.05,2523.7),(276.55,2523.7),(276.55,2807.3),(40.05,2807.3),(40.05,2900),(40.25,2900),(40.25,2807.5),(276.75,2807.5),(276.75,2523.5)],
  [(-449.2,-249.45),(-449.2,199.95),(-400,199.95),(-400,199.75),(-449,199.75),(-449,-249.25),(-220,-249.25),(-220,50.25),(-100,50.25),(-100,50.05),(-219.8,50.05),(-219.8,-249.45)],
  [(-444.7,-244.95),(-444.7,159.95),(-400,159.95),(-400,159.75),(-444.5,159.75),(-444.5,-244.75),(-224.5,-244.75),(-224.5,179.5),(-84.75,179.5),(-84.75,100),(-84.95,100),(-84.95,179.3),(-224.3,179.3),(-224.3,-244.95)],
  [(-439.95,2523.8),(-439.95,2600),(-439.75,2600),(-439.75,2524),(276.25,2524),(276.25,2807),(39.75,2807),(39.75,2900),(39.95,2900),(39.95,2807.2),(276.45,2807.2),(276.45,2523.8)],
  [(-449.5,-249.75),(-449.5,200.25),(-400,200.25),(-400,200.05),(-449.3,200.05),(-449.3,-249.55),(-219.7,-249.55),(-219.7,49.95),(-100,49.95),(-100,49.75),(-219.5,49.75),(-219.5,-249.75)],
  [(-453.7,-253.95),(-453.7,239.95),(-400,239.95),(-400,239.75),(-453.5,239.75),(-453.5,-253.75),(-215.5,-253.75),(-215.5,35.25),(-100,35.25),(-100,35.05),(-215.3,35.05),(-215.3,-253.95)],
  [(-454,-254.25),(-454,240.25),(-400,240.25),(-400,240.05),(-453.8,240.05),(-453.8,-254.05),(-215.2,-254.05),(-215.2,34.95),(-100,34.95),(-100,34.75),(-215,34.75),(-215,-254.25)],
  [(3010.05,-201.7),(3010.05,-100),(3010.25,-100),(3010.25,-201.5),(3246.5,-201.5),(3246.5,222.75),(3422.5,222.75),(3422.5,39.75),(3400,39.75),(3400,39.95),(3422.3,39.95),(3422.3,222.55),(3246.7,222.55),(3246.7,-201.7)],
  [(-458.2,-258.45),(-458.2,279.95),(-400,279.95),(-400,279.75),(-458,279.75),(-458,-258.25),(-211,-258.25),(-211,20.25),(-100,20.25),(-100,20.05),(-210.8,20.05),(-210.8,-258.45)],
  [(-458.5,-258.75),(-458.5,280.25),(-400,280.25),(-400,280.05),(-458.3,280.05),(-458.3,-258.55),(-210.7,-258.55),(-210.7,19.95),(-100,19.95),(-100,19.75),(-210.5,19.75),(-210.5,-258.75)],
  [(3400,-479.95),(3400,-479.75),(3480.5,-479.75),(3480.5,280.75),(3188.5,280.75),(3188.5,54.75),(3100,54.75),(3100,54.95),(3188.3,54.95),(3188.3,280.95),(3480.7,280.95),(3480.7,-479.95)],
  [(3100,2965.05),(3100,2965.25),(3215,2965.25),(3215,3260),(2790.75,3260),(2790.75,3409),(2840.25,3409),(2840.25,3400),(2840.05,3400),(2840.05,3408.8),(2790.95,3408.8),(2790.95,3260.2),(3215.2,3260.2),(3215.2,2965.05)],
  [(3100,2995.05),(3100,2995.25),(3206,2995.25),(3206,3251),(2781.75,3251),(2781.75,3418),(2920.25,3418),(2920.25,3400),(2920.05,3400),(2920.05,3417.8),(2781.95,3417.8),(2781.95,3251.2),(3206.2,3251.2),(3206.2,2995.05)],
  [(-462.7,-262.95),(-462.7,319.95),(-400,319.95),(-400,319.75),(-462.5,319.75),(-462.5,-262.75),(-206.5,-262.75),(-206.5,5.25),(-100,5.25),(-100,5.05),(-206.3,5.05),(-206.3,-262.95)])
R(test_smart_routing_start, FILL3, [(-175,-175,175,175), (2825,-175,3175,175), (-175,2825,175,3175), (2825,2825,3175,3175)])
P(test_smart_routing_start, FILL3, [(-760,2600),(200,2600),(200,2600),(-760,2600)],
  [(2800,3400),(3760,3400),(3760,3400),(2800,3400)],
  [(3400,-760),(3400,-760),(3400,200),(3400,200)],
  [(-400,-200),(-400,-200),(-400,760),(-400,760)])

lib.write_gds('test_smart_routing_start_bboxTrue_sort_portsTrue_indirectTrue_start_angle1m2True_m1False_zTrue_p1True_p2False.gds')
